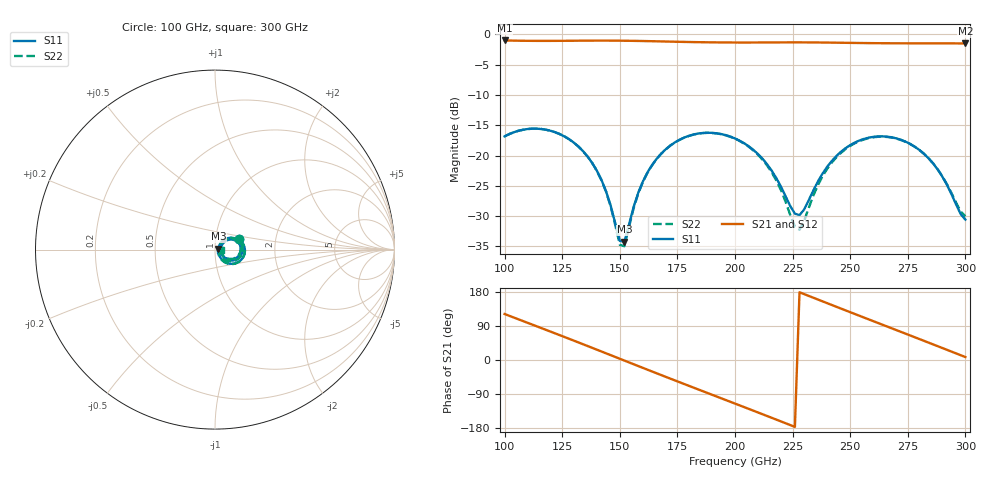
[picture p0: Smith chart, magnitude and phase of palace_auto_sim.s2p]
#  GHZ S DB R 50
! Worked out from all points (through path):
!   101 points, 100 GHz to 300 GHz, reference 50 ohm
!   highest |S21| = -0.99 dB at 100 GHz (marker M1); lowest = -1.5 dB at 300 GHz (marker M2)
!   group delay of S21, straight-line fit = 6.58 ps
!   lowest |S11| = -34.2 dB at 152 GHz (marker M3), VSWR 1.04, Z = 51.9 + j0.471 ohm
!   |S11| at or under -10 dB: start of sweep to end of sweep
!   |S22| runs from -34.9 to -15.6 dB; largest |S21 - S12| = 1e-13
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100  -16.82 23.3  -0.99 121.4  -0.99 121.4  -16.82 23.1
116  -15.61 -9.5  -1.06 84.1  -1.06 84.1  -15.61 -10.1
124  -16.45 -26.0  -1.05 65.4  -1.05 65.4  -16.46 -26.8
134  -19.25 -45.3  -1.02 41.7  -1.02 41.7  -19.26 -46.5
142  -23.98 -56.0  -1.01 22.6  -1.01 22.6  -24.02 -57.9
146  -28.21 -53.6  -1.02 12.9  -1.02 12.9  -28.34 -56.4
150  -34.08 -22.4  -1.03 3.3  -1.03 3.3  -34.71 -25.3
152  -34.22 13.5  -1.03 -1.5  -1.03 -1.5  -34.95 13.9
158  -26.14 49.4  -1.07 -15.9  -1.07 -15.9  -26.27 50.2
168  -19.66 39.2  -1.15 -39.8  -1.15 -39.8  -19.69 39.0
184  -16.36 9.3  -1.27 -77.6  -1.27 -77.6  -16.38 8.3
200  -17.16 -20.4  -1.33 -115.0  -1.33 -115.0  -17.20 -22.6
214  -21.46 -40.0  -1.32 -148.0  -1.32 -148.0  -21.66 -44.6
226  -29.58 -12.8  -1.31 -176.5  -1.31 -176.5  -31.74 -18.2
228  -29.82 4.6  -1.31 178.7  -1.31 178.7  -32.24 5.8
234  -25.75 36.4  -1.32 164.3  -1.32 164.3  -26.60 43.7
240  -21.85 38.3  -1.34 150.0  -1.34 150.0  -22.18 43.5
248  -18.77 28.4  -1.38 130.9  -1.38 130.9  -18.92 31.9
258  -17.04 10.8  -1.43 107.3  -1.43 107.3  -17.12 13.3
268  -16.97 -8.0  -1.45 83.7  -1.45 83.7  -17.02 -6.0
284  -20.43 -34.8  -1.46 45.9  -1.46 45.9  -20.43 -32.8
300  -30.56 -1.5  -1.48 7.8  -1.48 7.8  -30.02 -0.4
